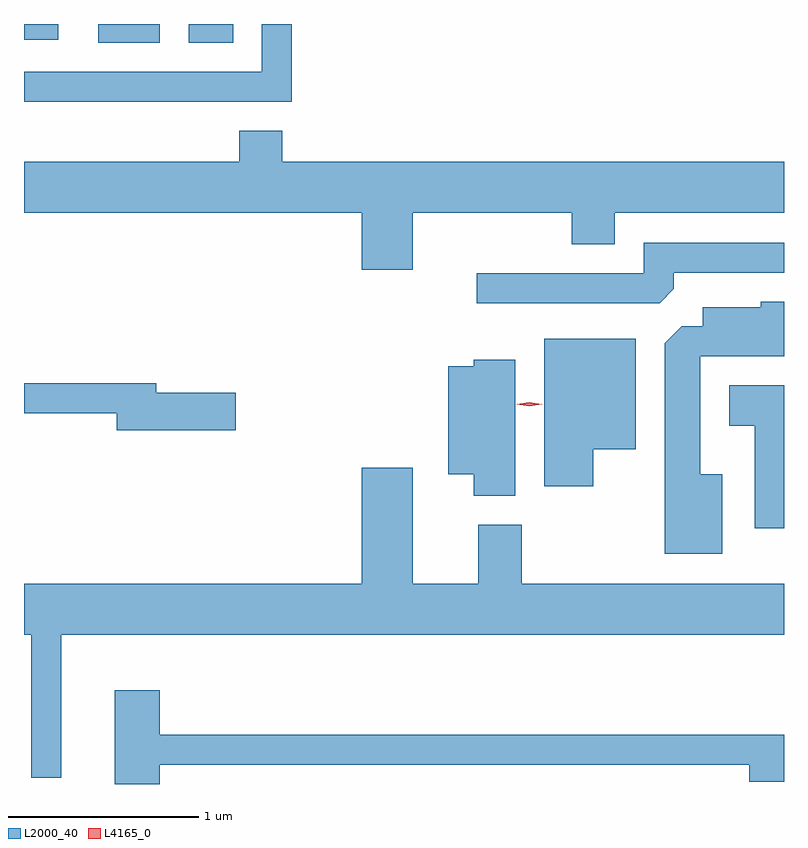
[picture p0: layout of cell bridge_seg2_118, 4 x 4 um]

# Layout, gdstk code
import gdstk
lib = gdstk.Library(unit=1e-6, precision=1e-09)
def R(c, l, rs):  # rectangles x0, y0, x1, y1
    for r in rs: c.add(gdstk.rectangle(r[:2], r[2:], *l))
def P(c, l, *ps):  # polygons
    for p in ps: c.add(gdstk.Polygon(p, *l))
L2000_40 = (2000, 40)
L4165_0 = (4165, 0)

bridge_seg2_118 = lib.new_cell('bridge_seg2_118')
R(bridge_seg2_118, L2000_40, [(912.991,1109.151,913.314,1109.25), (913.466,1109.151,913.699,1109.25), (912.599,1109.166,912.779,1109.25)])
P(bridge_seg2_118, L2000_40, [(914.009,1109.25),(913.851,1109.25),(913.851,1108.999),(912.599,1108.999),(912.599,1108.841),(914.009,1108.841)],
  [(914.644,1108.256),(915.481,1108.256),(915.481,1108.091),(915.709,1108.091),(915.709,1108.256),(916.599,1108.256),(916.599,1108.524),(913.959,1108.524),(913.959,1108.689),(913.731,1108.689),(913.731,1108.524),(912.599,1108.524),(912.599,1108.256),(914.376,1108.256),(914.376,1107.956),(914.644,1107.956)],
  [(916.019,1107.857),(916.019,1107.941),(916.599,1107.941),(916.599,1108.099),(915.861,1108.099),(915.861,1107.939),(914.983,1107.939),(914.983,1107.781),(915.944,1107.781)],
  [(916.274,1106.879),(916.159,1106.879),(916.159,1107.501),(916.599,1107.501),(916.599,1107.789),(916.476,1107.789),(916.476,1107.759),(916.171,1107.759),(916.171,1107.659),(916.062,1107.659),(915.971,1107.569),(915.971,1106.461),(916.274,1106.461)],
  [(915.594,1107.011),(915.819,1107.011),(915.819,1107.594),(915.336,1107.594),(915.336,1106.816),(915.594,1106.816)],
  [(915.184,1107.484),(914.966,1107.484),(914.966,1107.449),(914.831,1107.449),(914.831,1106.881),(914.966,1106.881),(914.966,1106.766),(915.184,1106.766)],
  [(913.714,1107.309),(913.294,1107.309),(913.294,1107.359),(912.599,1107.359),(912.599,1107.201),(913.086,1107.201),(913.086,1107.111),(913.714,1107.111)],
  [(916.599,1107.349),(916.311,1107.349),(916.311,1107.136),(916.446,1107.136),(916.446,1106.596),(916.599,1106.596)],
  [(912.794,1106.036),(916.599,1106.036),(916.599,1106.304),(915.219,1106.304),(915.219,1106.614),(914.991,1106.614),(914.991,1106.304),(914.644,1106.304),(914.644,1106.914),(914.376,1106.914),(914.376,1106.304),(912.599,1106.304),(912.599,1106.036),(912.636,1106.036),(912.636,1105.283),(912.794,1105.283)],
  [(913.314,1105.351),(916.416,1105.351),(916.416,1105.261),(916.599,1105.261),(916.599,1105.509),(913.314,1105.509),(913.314,1105.744),(913.076,1105.744),(913.076,1105.25),(913.314,1105.25)])
P(bridge_seg2_118, L4165_0, [(915.259,1107.239),(915.193,1107.248),(915.192,1107.248),(915.193,1107.249),(915.259,1107.258),(915.325,1107.249),(915.326,1107.249),(915.325,1107.248)])

lib.write_gds('bridge_seg2_118.gds')
